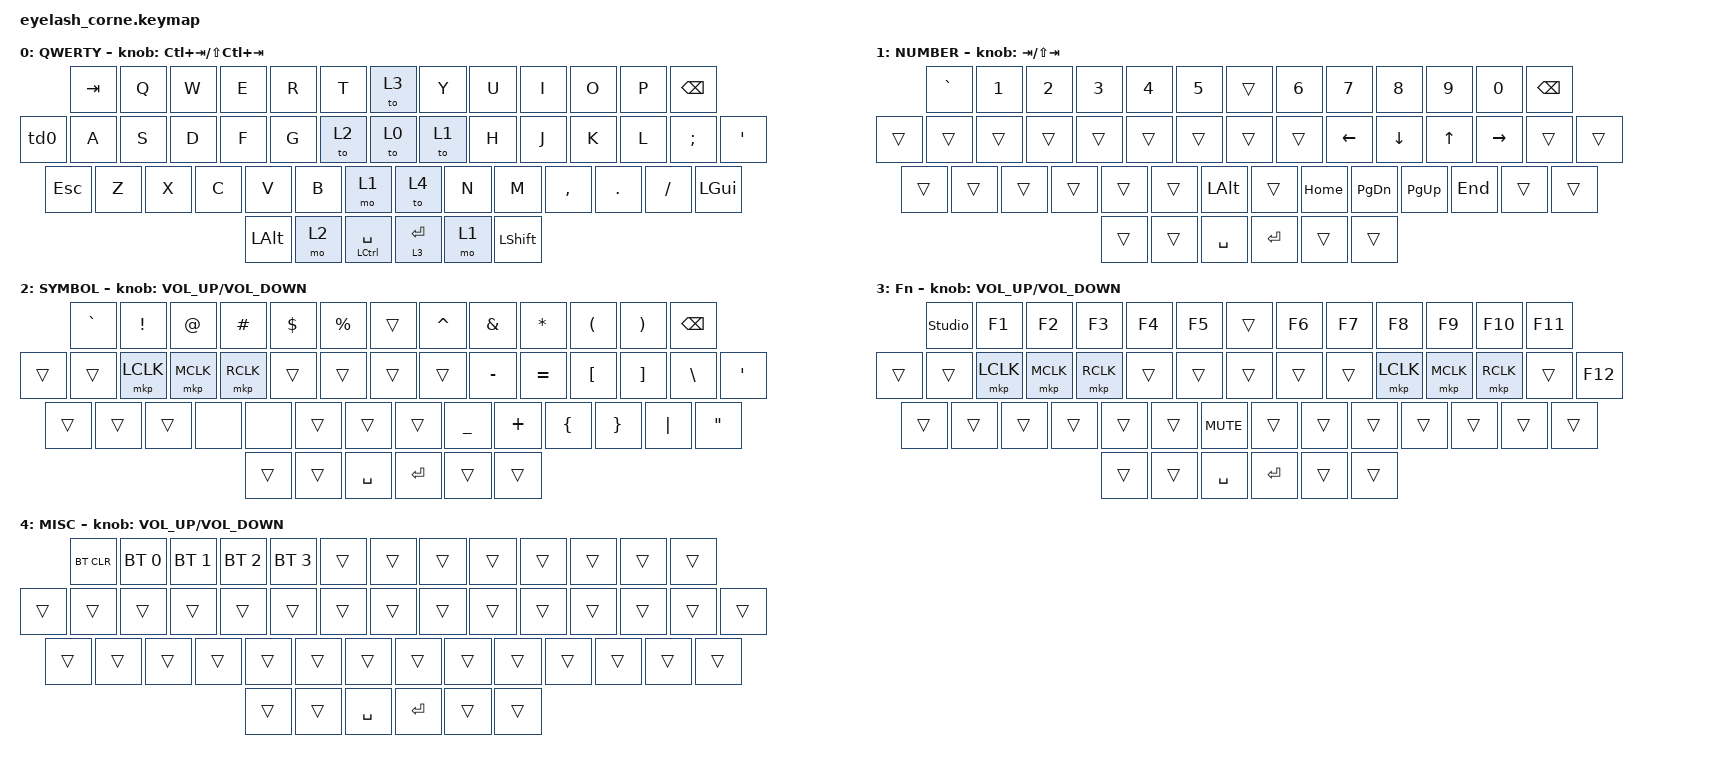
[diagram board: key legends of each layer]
#define ZMK_POINTING_DEFAULT_MOVE_VAL 1200  // 600
#define ZMK_POINTING_DEFAULT_SCRL_VAL 25   // 10

#include <input/processors.dtsi>
#include <zephyr/dt-bindings/input/input-event-codes.h>
#include <behaviors.dtsi>
#include <dt-bindings/zmk/bt.h>
#include <dt-bindings/zmk/ext_power.h>
#include <dt-bindings/zmk/keys.h>
#include <dt-bindings/zmk/outputs.h>
#include <dt-bindings/zmk/pointing.h>
#include <dt-bindings/zmk/rgb.h>

&mmv_input_listener { input-processors = <&zip_xy_scaler 2 1>; };

&msc_input_listener { input-processors = <&zip_scroll_scaler 2 1>; };

&msc {
    acceleration-exponent = <1>;      // 0
    time-to-max-speed-ms = <100>;       // 300
    delay-ms = <0>;                   // 0
};

&mmv {
    time-to-max-speed-ms = <500>;
    acceleration-exponent = <1>;
    trigger-period-ms = <16>;
};


/ {
    behaviors {
        td0: td0 {
            compatible = "zmk,behavior-tap-dance";
            display-name = "Shift/Caps Lock Tap Dance";
            #binding-cells = <0>;
            bindings = <&kp LEFT_SHIFT>, <&kp CAPS>;
        };
    };

    rgb_encoder: rgb_encoder {
        compatible = "zmk,behavior-sensor-rotate";
        #sensor-binding-cells = <0>;
        bindings = <&rgb_ug RGB_BRI>, <&rgb_ug RGB_BRD>;
    };

    scroll_encoder: scroll_encoder {
        compatible = "zmk,behavior-sensor-rotate";
        #sensor-binding-cells = <0>;
        bindings = <&msc SCRL_DOWN>, <&msc SCRL_UP>;
        tap-ms = <100>;
    };

    keymap {
        compatible = "zmk,keymap";

        default_layer {
            display-name = "QWERTY";
            bindings = <
&kp TAB    &kp Q  &kp W      &kp E     &kp R  &kp T                              &to 3                &kp Y        &kp U  &kp I      &kp O    &kp P     &kp BSPC
&td0       &kp A  &kp S      &kp D     &kp F  &kp G                    &to 2 &to 0  &to 1  &kp H        &kp J  &kp K      &kp L    &kp SEMI  &kp SQT
&kp ESC  &kp Z  &kp X      &kp C     &kp V  &kp B       &mo 1              &to 4              &kp N        &kp M  &kp COMMA  &kp DOT  &kp FSLH  &kp LGUI
                             &kp LALT  &mo 2 &mt LCTRL SPACE                                              &lt 3 ENTER  &mo 1  &kp LEFT_SHIFT
            >;
            sensor-bindings = <&inc_dec_kp LC(TAB) LS(LC(TAB))>;
        };

        lower_layer {
            display-name = "NUMBER";
            bindings = <
&kp GRAVE  &kp N1           &kp N2          &kp N3        &kp N4        &kp N5                                        &trans                     &kp N6           &kp N7           &kp N8           &kp N9           &kp N0    &kp BSPC
&trans  &trans   &trans    &trans  &trans  &trans                           &trans  &trans       &trans  &kp LEFT         &kp DOWN         &kp UP           &kp RIGHT        &trans  &trans
&trans  &trans  &trans  &trans        &trans        &trans &kp LALT                    &trans                   &kp HOME  &kp PG_DN  &kp PG_UP  &kp END  &trans   &trans
                                         &trans        &trans        &kp SPACE                                                                         &kp ENTER          &trans          &trans
            >;
            sensor-bindings = <&inc_dec_kp TAB LS(TAB)>;
        };

        raise_layer {
            display-name = "SYMBOL";
            bindings = <
&kp GRAVE  &kp EXCL      &kp AT        &kp HASH   &kp DLLR   &kp PRCNT                           &trans                     &kp CARET  &kp AMPS   &kp ASTRK  &kp LPAR  &kp RPAR  &kp BSPC
&trans  &trans    &mkp LCLK     &mkp MCLK  &mkp RCLK  &trans            &trans  &trans       &trans  &kp MINUS  &kp EQUAL  &kp LBKT   &kp RBKT  &kp BSLH  &kp SQT
&trans  &trans  &trans  &none      &none      &trans  &trans                    &trans                   &kp UNDER  &kp PLUS   &kp LBRC   &kp RBRC  &kp PIPE  &kp DQT
                                    &trans     &trans     &kp SPACE                                                            &kp ENTER    &trans     &trans
            >;
            sensor-bindings = <&inc_dec_kp C_VOLUME_UP C_VOLUME_DOWN>;
        };

        layer_3 {
            display-name = "Fn";
            bindings = <
&studio_unlock   &kp F1      &kp F2      &kp F3       &kp F4     &kp F5                                  &trans                     &kp F6       &kp F7     &kp F8       &kp F9      &kp F10          &kp F11
&trans  &trans      &mkp LCLK   &mkp MCLK    &mkp RCLK  &trans                &trans  &trans       &trans  &trans  &mkp LCLK  &mkp MCLK    &mkp RCLK   &trans  &kp F12
&trans  &trans  &trans      &trans  &trans     &trans  &kp C_MUTE                    &trans                   &trans       &trans     &trans  &trans  &trans   &trans
                                &trans      &trans      &kp SPACE                                                                   &kp ENTER       &trans     &trans
            >;
            sensor-bindings = <&inc_dec_kp C_VOLUME_UP C_VOLUME_DOWN>;
        };

         util_layer {
            display-name = "MISC";
            bindings = <
&bt BT_CLR  &bt BT_SEL 0           &bt BT_SEL 1           &bt BT_SEL 2         &bt BT_SEL 3        &trans                                        &trans                     &trans           &trans           &trans           &trans           &trans    &trans
&trans  &trans   &trans    &trans  &trans  &trans                           &trans  &trans       &trans  &trans         &trans         &trans           &trans        &trans  &trans
&trans  &trans  &trans  &trans        &trans        &trans &trans                    &trans                   &trans  &trans  &trans  &trans  &trans   &trans
                                         &trans        &trans        &kp SPACE                                                                         &kp ENTER          &trans          &trans
            >;
            sensor-bindings = <&inc_dec_kp C_VOLUME_UP C_VOLUME_DOWN>;
        };
    };
};
